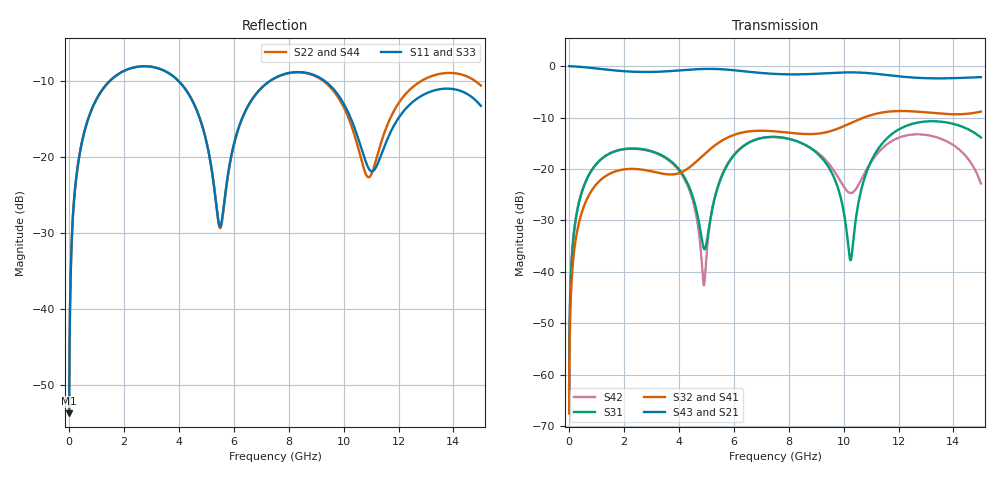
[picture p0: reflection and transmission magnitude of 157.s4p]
! Created with skrf 1.8.0 (http://scikit-rf.org).
# GHz S RI R 50.0
!freq ReS11 ImS11 ReS12 ImS12 ReS13 ImS13
! ReS14 ImS14
! ReS21 ImS21 ReS22 ImS22 ReS23 ImS23
! ReS24 ImS24
! ReS31 ImS31 ReS32 ImS32 ReS33 ImS33
! ReS34 ImS34
! ReS41 ImS41 ReS42 ImS42 ReS43 ImS43
! ReS44 ImS44
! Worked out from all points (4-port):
!   2499 points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, 5 MHz to 15 GHz, reference 50 ohm
!   strongest paths, dB at 5 MHz, 3.476 GHz, 7.19 GHz, 11.1 GHz, 15 GHz:
!     S43: 0.0, -1.0, -1.4, -1.5, -2.1
!     S21: 0.0, -1.0, -1.4, -1.5, -2.1
!     S32: -67.5, -21.0, -12.6, -9.4, -8.8
!     S41: -67.5, -21.0, -12.6, -9.4, -8.9
!     S31: -63.5, -17.6, -13.8, -17.5, -13.9
!     S42: -63.5, -17.8, -13.9, -17.9, -22.8
!   lowest |S11| = -53.8 dB at 5 MHz (marker M1), VSWR 1.00, Z = 50.2 + j0.124 ohm
!   |S11| at or under -10 dB: start of sweep to 1.504 GHz; 3.97 GHz to 7.342 GHz (3.372 GHz wide, 59.6 % of centre); 9.293 GHz to end of sweep
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0.005  0.00163 0.00124  0.9983 -0.00318  8.25e-05 0.000664  -8.01e-05 -0.000414
       0.9983 -0.00318  0.00163 0.00124  -8.01e-05 -0.000414  8.25e-05 0.000664
       8.25e-05 0.000664  -8.01e-05 -0.000414  0.00163 0.00124  0.9983 -0.00318
       -8.01e-05 -0.000414  8.25e-05 0.000664  0.9983 -0.00318  0.00163 0.00124
0.3126303  0.0239 0.0815  0.9674 -0.1977  0.0113 0.0394  -0.00927 -0.0243
           0.9674 -0.1977  0.0239 0.0815  -0.00928 -0.0243  0.0111 0.0394
           0.0113 0.0394  -0.00928 -0.0243  0.0239 0.0815  0.9674 -0.1977
           -0.00927 -0.0243  0.0111 0.0394  0.9674 -0.1977  0.0239 0.0815
1.569404  0.2715 0.1774  0.5451 -0.732  0.1319 0.0606  -0.0918 -0.00562
          0.5451 -0.732  0.2721 0.177  -0.0919 -0.00548  0.1296 0.0637
          0.1319 0.0606  -0.0919 -0.00548  0.2713 0.1774  0.5452 -0.732
          -0.0918 -0.00562  0.1296 0.0637  0.5452 -0.732  0.2721 0.1769
4.908295  0.0757 -0.1254  -0.8542 -0.3867  -0.0153 -0.00719  -0.0537 0.1265
          -0.8542 -0.3867  0.0749 -0.1274  -0.0517 0.1273  -0.00694 -0.00255
          -0.0153 -0.00719  -0.0517 0.1273  0.0765 -0.124  -0.8543 -0.3868
          -0.0537 0.1265  -0.00694 -0.00255  -0.8543 -0.3868  0.0733 -0.1271
8.59108  0.3538 -0.0471  0.0264 0.8324  0.1499 -0.084  0.2053 -0.0708
         0.0264 0.8324  0.3511 -0.0515  0.205 -0.0758  0.1471 -0.0897
         0.1499 -0.084  0.205 -0.0758  0.3508 -0.0461  0.0254 0.8334
         0.2053 -0.0708  0.1471 -0.0897  0.0254 0.8334  0.3496 -0.0513
10.25427  0.128 -0.1266  0.7129 0.4955  -0.0129 -0.00173  0.1568 -0.2304
          0.7129 0.4955  0.1168 -0.1171  0.1501 -0.2349  -0.054 -0.0222
          -0.0129 -0.00173  0.1501 -0.2349  0.1279 -0.1211  0.7133 0.4965
          0.1568 -0.2304  -0.054 -0.0222  0.7133 0.4965  0.1113 -0.1148
15  0.2021 -0.0746  -0.315 -0.7147  0.0227 -0.2012  -0.3182 0.1682
    -0.315 -0.7147  0.2451 -0.1604  -0.3116 0.1824  0.0656 -0.0303
    0.0227 -0.2012  -0.3116 0.1824  0.2044 -0.0686  -0.3094 -0.717
    -0.3182 0.1682  0.0656 -0.0303  -0.3094 -0.717  0.2477 -0.1603
